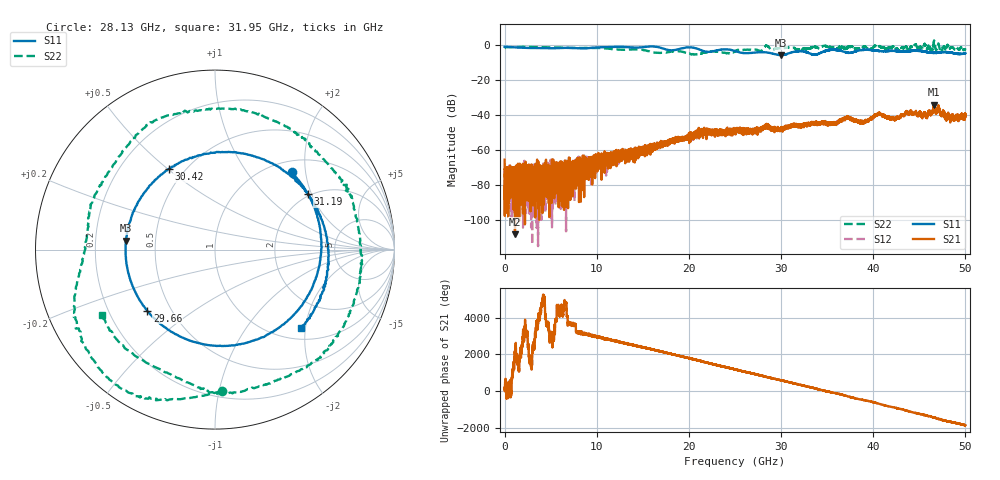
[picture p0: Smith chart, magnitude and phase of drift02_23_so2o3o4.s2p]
!Created with skrf (http://scikit-rf.org).
# Hz S RI R 50.0
!freq ReS11 ImS11 ReS21 ImS21 ReS12 ImS12 ReS22 ImS22
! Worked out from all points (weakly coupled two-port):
!   10001 points, 300 kHz to 50 GHz, reference 50 ohm
!   highest |S21| = -34.18 dB at 46.62 GHz (marker M1); lowest = -108.1 dB at 1.125 GHz (marker M2)
!   lowest |S11| = -6.1 dB at 30.01 GHz (marker M3), VSWR 2.98, Z = 16.8 + j2.18 ohm
!   |S11| at or under -10 dB: nowhere
!   |S22| runs from -5.7 to 2.3 dB; largest |S21 - S12| = 0.0035
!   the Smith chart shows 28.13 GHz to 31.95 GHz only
!   S11 on the Smith chart (normalised r, x): 28.13 GHz: 1.23, +1.68; 29.66 GHz: 0.37, -0.34; 30.42 GHz: 0.41, +0.50; 31.19 GHz: 1.94, +1.88; 31.95 GHz: 1.25, -1.90
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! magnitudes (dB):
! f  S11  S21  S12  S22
! 300 kHz  -1.3  -65.5  -75.1  -2.1
! 260.3 MHz  -1.4  -86.0  -79.0  -1.4
! 1.125 GHz  -1.6  -108.1  -75.4  -1.4
! 6.005 GHz  -2.0  -72.2  -73.0  -1.7
! 8.335 GHz  -2.2  -68.2  -66.5  -1.9
! 16.67 GHz  -1.5  -58.1  -58.9  -4.7
! 21.22 GHz  -3.0  -49.2  -48.8  -5.2
! 25 GHz  -3.7  -49.4  -49.1  -3.9
! 28.13 GHz  -4.3  -47.8  -47.9  -2.1
! 29.66 GHz  -5.9  -48.3  -48.3  -2.1
! 30.01 GHz  -6.1  -48.8  -47.9  -2.1
! 30.42 GHz  -5.7  -47.4  -47.7  -1.9
! 31.19 GHz  -4.4  -46.1  -46.1  -1.8
! 31.95 GHz  -3.7  -46.1  -45.8  -2.7
! 33.34 GHz  -5.5  -44.7  -44.9  -1.5
! 37.28 GHz  -4.7  -41.5  -41.4  -1.4
! 38.84 GHz  -3.0  -44.2  -44.4  -1.2
! 40.6 GHz  -3.6  -39.2  -39.3  -1.0
! 41.67 GHz  -3.7  -41.2  -41.0  -1.9
! 46.62 GHz  -4.7  -34.2  -34.8  2.1
! 48.12 GHz  -4.3  -39.8  -39.9  -0.6
! 50 GHz  -4.9  -40.6  -40.5  -2.7
